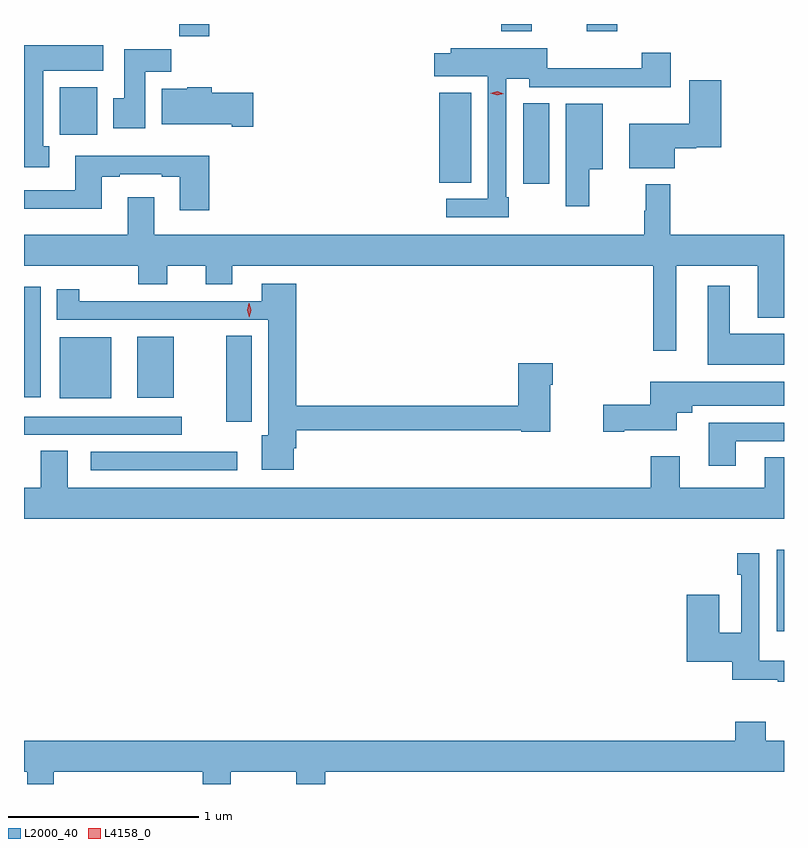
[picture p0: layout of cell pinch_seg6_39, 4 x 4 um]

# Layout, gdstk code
import gdstk
lib = gdstk.Library(unit=1e-6, precision=1e-09)
def R(c, l, rs):  # rectangles x0, y0, x1, y1
    for r in rs: c.add(gdstk.rectangle(r[:2], r[2:], *l))
def P(c, l, *ps):  # polygons
    for p in ps: c.add(gdstk.Polygon(p, *l))
L2000_40 = (2000, 40)
L4158_0 = (4158, 0)

pinch_seg6_39 = lib.new_cell('pinch_seg6_39')
R(pinch_seg6_39, L2000_40, [(952.796,965.391,952.834,965.821), (949.185,966.24,949.957,966.336), (948.834,966.426,949.663,966.522), (949.898,966.495,950.032,966.947), (949.022,966.617,949.294,966.94), (949.43,966.62,949.621,966.943), (948.834,966.623,948.922,967.204), (951.461,967.746,951.598,968.171), (951.02,967.753,951.187,968.227), (949.023,968.004,949.219,968.254), (949.651,968.524,949.808,968.588), (951.347,968.549,951.507,968.588), (951.796,968.549,951.956,968.588)])
P(pinch_seg6_39, L2000_40, [(948.967,967.945),(948.934,967.945),(948.934,968.342),(949.252,968.342),(949.252,968.476),(948.834,968.476),(948.834,967.833),(948.967,967.833)],
  [(951.385,967.675),(951.372,967.675),(951.372,968.3),(951.492,968.3),(951.492,968.256),(952.001,968.256),(952.001,968.255),(952.237,968.255),(952.237,968.437),(952.085,968.437),(952.085,968.354),(951.588,968.354),(951.588,968.461),(951.081,968.461),(951.081,968.434),(950.994,968.434),(950.994,968.312),(951.276,968.312),(951.276,967.668),(951.057,967.668),(951.057,967.572),(951.385,967.572)],
  [(949.471,968.336),(949.61,968.336),(949.61,968.455),(949.361,968.455),(949.361,968.196),(949.304,968.196),(949.304,968.04),(949.471,968.04)],
  [(952.258,967.933),(952.371,967.933),(952.371,967.94),(952.505,967.94),(952.505,968.293),(952.334,968.293),(952.334,968.062),(952.019,968.062),(952.019,967.829),(952.258,967.829)],
  [(950.041,968.226),(949.823,968.226),(949.823,968.254),(949.692,968.254),(949.692,968.248),(949.559,968.248),(949.559,968.06),(949.928,968.06),(949.928,968.048),(950.041,968.048)],
  [(951.808,967.823),(951.88,967.823),(951.88,968.167),(951.686,968.167),(951.686,967.629),(951.808,967.629)],
  [(949.808,967.894),(949.103,967.894),(949.103,967.713),(948.834,967.713),(948.834,967.616),(949.243,967.616),(949.243,967.785),(949.339,967.785),(949.339,967.797),(949.559,967.797),(949.559,967.785),(949.655,967.785),(949.655,967.608),(949.808,967.608)],
  [(952.267,967.316),(952.697,967.316),(952.697,967.043),(952.834,967.043),(952.834,967.48),(952.235,967.48),(952.235,967.744),(952.107,967.744),(952.107,967.604),(952.099,967.604),(952.099,967.48),(949.519,967.48),(949.519,967.675),(949.379,967.675),(949.379,967.48),(948.834,967.48),(948.834,967.316),(949.436,967.316),(949.436,967.217),(949.588,967.217),(949.588,967.316),(949.79,967.316),(949.79,967.217),(949.93,967.217),(949.93,967.316),(952.146,967.316),(952.146,966.867),(952.267,966.867)],
  [(950.254,966.356),(950.267,966.356),(950.267,966.45),(951.45,966.45),(951.45,966.442),(951.604,966.442),(951.604,966.689),(951.617,966.689),(951.617,966.802),(951.434,966.802),(951.434,966.578),(950.267,966.578),(950.267,967.222),(950.084,967.222),(950.084,967.128),(949.352,967.128),(949.352,967.13),(949.125,967.13),(949.125,967.192),(949.007,967.192),(949.007,967.032),(950.12,967.032),(950.12,966.424),(950.084,966.424),(950.084,966.242),(950.254,966.242)],
  [(952.834,966.958),(952.549,966.958),(952.549,967.21),(952.433,967.21),(952.433,966.794),(952.834,966.794)],
  [(951.994,966.449),(952.27,966.449),(952.27,966.542),(952.351,966.542),(952.351,966.578),(952.834,966.578),(952.834,966.706),(952.13,966.706),(952.13,966.584),(951.882,966.584),(951.882,966.442),(951.994,966.442)],
  [(952.579,966.393),(952.834,966.393),(952.834,966.489),(952.439,966.489),(952.439,966.264),(952.579,966.264)],
  [(952.834,966.308),(952.733,966.308),(952.733,966.148),(952.285,966.148),(952.285,966.313),(952.133,966.313),(952.133,966.148),(949.063,966.148),(949.063,966.341),(948.923,966.341),(948.923,966.148),(948.834,966.148),(948.834,965.984),(952.834,965.984)],
  [(952.834,965.236),(952.704,965.236),(952.704,965.803),(952.588,965.803),(952.588,965.69),(952.608,965.69),(952.608,965.384),(952.492,965.384),(952.492,965.584),(952.322,965.584),(952.322,965.231),(952.562,965.231),(952.562,965.137),(952.801,965.137),(952.801,965.127),(952.834,965.127)],
  [(948.991,964.652),(949.775,964.652),(949.775,964.588),(949.923,964.588),(949.923,964.652),(950.267,964.652),(950.267,964.588),(950.42,964.588),(950.42,964.652),(952.834,964.652),(952.834,964.816),(952.737,964.816),(952.737,964.915),(952.577,964.915),(952.577,964.816),(948.834,964.816),(948.834,964.652),(948.851,964.652),(948.851,964.588),(948.991,964.588)])
P(pinch_seg6_39, L4158_0, [(951.324,968.213),(951.289,968.224),(951.289,968.224),(951.289,968.224),(951.324,968.233),(951.359,968.222),(951.359,968.222),(951.359,968.222)],
  [(950.019,967.045),(950.019,967.045),(950.009,967.081),(950.018,967.117),(950.018,967.117),(950.019,967.117),(950.029,967.081),(950.019,967.045)])

lib.write_gds('pinch_seg6_39.gds')
